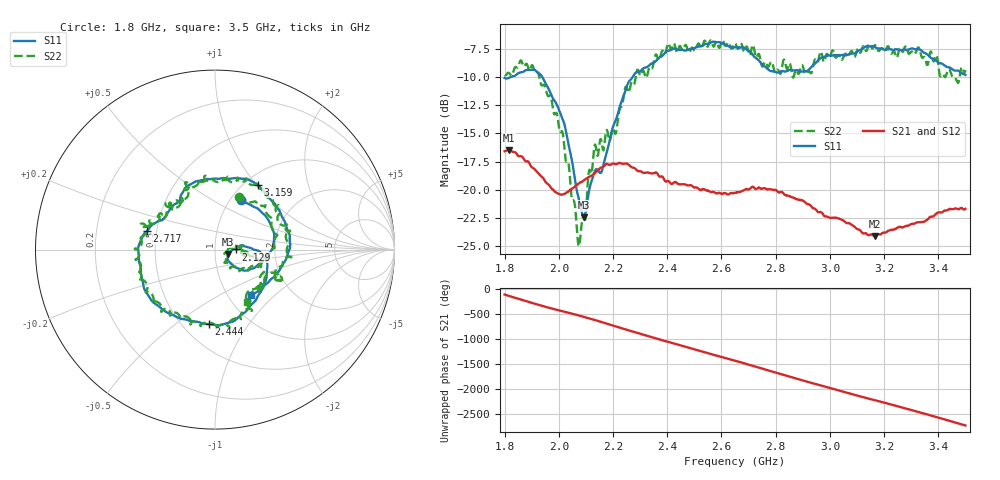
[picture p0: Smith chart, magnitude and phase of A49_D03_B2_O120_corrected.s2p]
! Created with skrf 1.9.0 (http://scikit-rf.org).
# Hz S RI R 50.0
!freq ReS11 ImS11 ReS21 ImS21 ReS12 ImS12 ReS22 ImS22
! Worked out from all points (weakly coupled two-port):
!   1601 points, 1.8 GHz to 3.5 GHz, reference 50 ohm
!   highest |S21| = -16.49 dB at 1.817 GHz (marker M1); lowest = -24.1 dB at 3.165 GHz (marker M2)
!   lowest |S11| = -22.5 dB at 2.092 GHz (marker M3), VSWR 1.16, Z = 57.6 - j2.9 ohm
!   |S11| at or under -10 dB: start of sweep to 1.823 GHz; 1.939 GHz to 2.273 GHz (333.6 MHz wide, 15.8 % of centre)
!   |S22| runs from -25.0 to -6.8 dB; largest |S21 - S12| = 0.0026
!   S11 on the Smith chart (normalised r, x): 1.8 GHz: 1.12, +0.69; 2.129 GHz: 1.27, +0.00; 2.444 GHz: 0.66, -0.67; 2.717 GHz: 0.44, +0.11; 3.159 GHz: 1.14, +1.02; 3.5 GHz: 1.27, -0.72
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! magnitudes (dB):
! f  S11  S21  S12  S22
! 1.8 GHz  -10.1  -16.6  -16.6  -9.8
! 1.817 GHz  -10.1  -16.5  -16.5  -9.7
! 1.903 GHz  -9.3  -18.0  -18.0  -9.0
! 1.968 GHz  -11.3  -19.7  -19.8  -11.7
! 2.015 GHz  -13.8  -20.4  -20.4  -15.0
! 2.071 GHz  -20.5  -19.5  -19.5  -24.7
! 2.084 GHz  -21.9  -19.3  -19.3  -23.1
! 2.092 GHz  -22.5  -19.2  -19.2  -22.5
! 2.129 GHz  -18.6  -18.6  -18.6  -16.5
! 2.16 GHz  -18.2  -18.0  -17.9  -16.1
! 2.209 GHz  -13.9  -17.7  -17.7  -15.0
! 2.258 GHz  -10.4  -17.8  -17.8  -11.4
! 2.367 GHz  -8.3  -18.7  -18.7  -8.5
! 2.444 GHz  -7.6  -19.5  -19.5  -7.3
! 2.65 GHz  -7.4  -20.3  -20.2  -7.0
! 2.717 GHz  -8.1  -19.8  -19.7  -7.2
! 2.802 GHz  -9.6  -20.0  -20.1  -9.6
! 2.934 GHz  -9.0  -21.5  -21.5  -9.5
! 3.159 GHz  -7.3  -24.0  -24.0  -7.4
! 3.165 GHz  -7.3  -24.1  -24.1  -7.2
! 3.217 GHz  -7.5  -23.6  -23.6  -7.4
! 3.5 GHz  -9.8  -21.7  -21.7  -9.4
